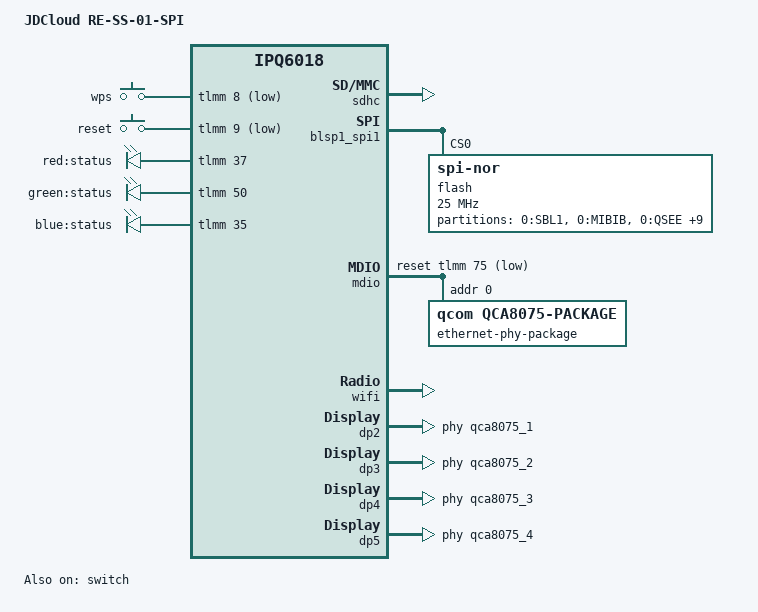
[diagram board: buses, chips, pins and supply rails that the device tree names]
// SPDX-License-Identifier: GPL-2.0-or-later OR MIT

/dts-v1/;

#include "ipq6018.dtsi"
#include "ipq6018-ess.dtsi"
#include "ipq6018-nss.dtsi"
#include "ipq6018-common.dtsi"
#include "ipq6018-cp-cpu.dtsi"

#include <dt-bindings/gpio/gpio.h>
#include <dt-bindings/input/input.h>
#include <dt-bindings/leds/common.h>

/ {
	model = "JDCloud RE-SS-01-SPI";
	compatible = "jdcloud,re-ss-01-spi", "qcom,ipq6018";

	aliases {
		serial0 = &blsp1_uart3;

		led-boot = &led_status_blue;
		led-failsafe = &led_status_red;
		led-running = &led_status_green;
		led-upgrade = &led_status_red;

		ethernet1 = &dp2;
		ethernet2 = &dp3;
		ethernet3 = &dp4;
		ethernet4 = &dp5;
	};

	chosen {
		stdout-path = "serial0:115200n8";
	};

	keys {
		compatible = "gpio-keys";

		wps {
			label = "wps";
			linux,code = <KEY_WPS_BUTTON>;
			gpios = <&tlmm 8 GPIO_ACTIVE_LOW>;
		};

		reset {
			label = "reset";
			linux,code = <KEY_RESTART>;
			gpios = <&tlmm 9 GPIO_ACTIVE_LOW>;
		};
	};

	leds {
		compatible = "gpio-leds";

		led_status_red: red {
			label = "red:status";
			gpios = <&tlmm 37 GPIO_ACTIVE_HIGH>;
		};

		led_status_green: green {
			label = "green:status";
			gpios = <&tlmm 50 GPIO_ACTIVE_HIGH>;
		};

		led_status_blue: blue {
			label = "blue:status";
			gpios = <&tlmm 35 GPIO_ACTIVE_HIGH>;
		};
	};
};

&sdhc {
	status = "okay";

	/delete-property/ mmc-hs400-1_8v;
	mmc-hs200-1_8v;
	mmc-ddr-1_8v;
};

&blsp1_spi1 {
	status = "okay";

	flash@0 {
		compatible = "jedec,spi-nor";
		spi-max-frequency = <25000000>;
		#address-cells = <1>;
		#size-cells = <1>;
		reg = <0>;

		partitions {
			compatible = "fixed-partitions";
			#address-cells = <1>;
			#size-cells = <1>;

			partition@0 {
				label = "0:SBL1";
				reg = <0x00000000 0x000c0000>;
			};

			partition@c0000 {
				label = "0:MIBIB";
				reg = <0x000c0000 0x00010000>;
			};

			partition@d0000 {
				label = "0:QSEE";
				reg = <0x000d0000 0x001a0000>;
			};

			partition@270000 {
				label = "0:DEVCFG";
				reg = <0x00270000 0x00010000>;
			};

			partition@280000 {
				label = "0:RPM";
				reg = <0x00280000 0x00020000>;
			};

			partition@2a0000 {
				label = "0:CDT";
				reg = <0x002a0000 0x00010000>;
			};

			partition@2b0000 {
				label = "0:APPSBLENV";
				reg = <0x002b0000 0x00010000>;
			};

			partition@2c0000 {
				label = "0:APPSBL";
				reg = <0x002c0000 0x000a0000>;
			};

			partition@360000 {
				label = "0:ART";
				reg = <0x00360000 0x00040000>;

				nvmem-layout {
					compatible = "fixed-layout";
					#address-cells = <1>;
					#size-cells = <1>;

					macaddr_eth0: macaddr@0 {
						reg = <0x00 0x06>;
					};

					macaddr_eth1: macaddr@6 {
						reg = <0x06 0x06>;
					};

					macaddr_eth2: macaddr@c {
						reg = <0x0c 0x06>;
					};
				};
			};

			partition@3a0000 {
				label = "config";
				reg = <0x003a0000 0x00040000>;
			};

			partition@3e0000 {
				label = "data";
				reg = <0x003e0000 0x00100000>;
			};

			partition@4e0000 {
				label = "firmware";
				compatible = "denx,fit";
				reg = <0x004e0000 0x01b20000>;
			};
		};
	};
};

&mdio {
	status = "okay";

	pinctrl-0 = <&mdio_pins>;
	pinctrl-names = "default";
	reset-gpios = <&tlmm 75 GPIO_ACTIVE_LOW>;

	ethernet-phy-package@0 {
		compatible = "qcom,qca8075-package";
		#address-cells = <1>;
		#size-cells = <0>;
		reg = <0>;

		qca8075_1: ethernet-phy@1 {
			compatible = "ethernet-phy-ieee802.3-c22";
			reg = <1>;
		};

		qca8075_2: ethernet-phy@2 {
			compatible = "ethernet-phy-ieee802.3-c22";
			reg = <2>;
		};

		qca8075_3: ethernet-phy@3 {
			compatible = "ethernet-phy-ieee802.3-c22";
			reg = <3>;
		};

		qca8075_4: ethernet-phy@4 {
			compatible = "ethernet-phy-ieee802.3-c22";
			reg = <4>;
		};
	};
};

&switch {
	status = "okay";

	switch_lan_bmp = <(ESS_PORT2 | ESS_PORT3 | ESS_PORT4)>;
	switch_wan_bmp = <ESS_PORT5>;
	switch_mac_mode = <MAC_MODE_PSGMII>;

	qcom,port_phyinfo {
		port@2 {
			port_id = <2>;
			phy_address = <1>;
		};

		port@3 {
			port_id = <3>;
			phy_address = <2>;
		};

		port@4 {
			port_id = <4>;
			phy_address = <3>;
		};

		port@5 {
			port_id = <5>;
			phy_address = <4>;
		};
	};
};

&wifi {
	status = "okay";
	qcom,ath11k-fw-memory-mode = <1>;
	qcom,ath11k-calibration-variant = "JDC-RE-SS-01";
};

&dp2 {
	status = "okay";
	phy-handle = <&qca8075_1>;
	label = "lan1";
};

&dp3 {
	status = "okay";
	phy-handle = <&qca8075_2>;
	label = "lan2";
};

&dp4 {
	status = "okay";
	phy-handle = <&qca8075_3>;
	label = "lan3";
};

&dp5 {
	status = "okay";
	phy-handle = <&qca8075_4>;
	label = "wan";
};

&edma {
	status = "okay";
};
